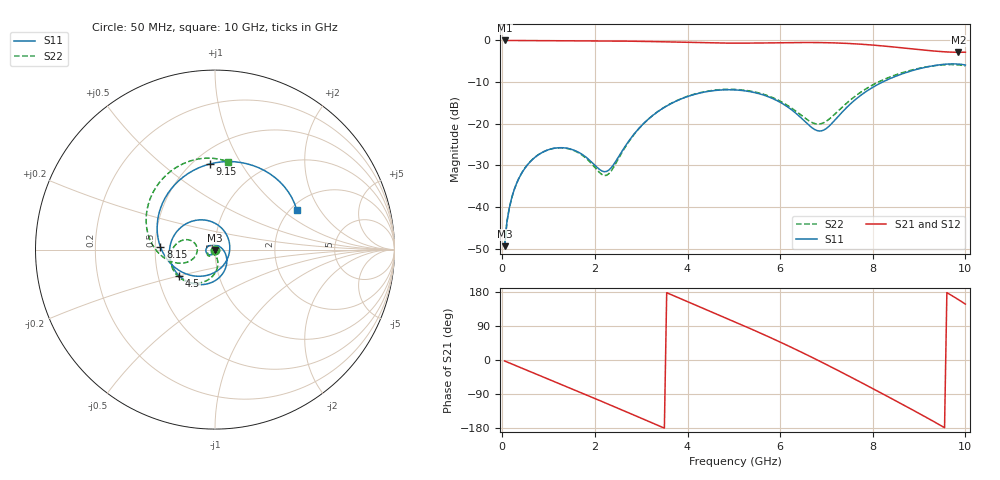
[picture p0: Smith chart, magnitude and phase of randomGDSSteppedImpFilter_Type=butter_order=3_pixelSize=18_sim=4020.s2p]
! freq	dB(S11)	phase(S11)	dB(S12)	phase(S12)
!  dB(S21)	phase(S21)	dB(S22)	phase(S22)
!S-par simulation data
#  GHz  S  DB  R 50
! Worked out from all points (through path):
!   200 points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, 50 MHz to 10 GHz, reference 50 ohm
!   highest |S21| = -0.01 dB at 50 MHz (marker M1); lowest = -2.9 dB at 9.85 GHz (marker M2)
!   group delay of S21, straight-line fit = 156 ps
!   lowest |S11| = -49.4 dB at 50 MHz (marker M3), VSWR 1.01, Z = 50 - j0.335 ohm
!   |S11| at or under -10 dB: start of sweep to 8.211 GHz
!   |S22| runs from -49.4 to -5.8 dB; largest |S21 - S12| = 0
!   S11 on the Smith chart (normalised r, x): 50 MHz: 1.00, -0.01; 4.5 GHz: 0.64, -0.20; 8.15 GHz: 0.53, +0.02; 9.15 GHz: 0.60, +0.74; 10 GHz: 2.15, +1.28
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0.05  -49.41 -82.1  -0.01 -2.6  -0.01 -2.6  -49.39 -81.4
0.1  -43.61 -92.5  -0.01 -5.1  -0.01 -5.1  -43.50 -91.4
0.2  -37.95 -100.4  -0.02 -10.2  -0.02 -10.2  -37.95 -97.7
0.55  -29.80 -122.2  -0.04 -28.0  -0.04 -28.0  -29.77 -113.8
1.15  -25.85 -160.0  -0.08 -58.4  -0.08 -58.4  -25.85 -138.8
1.75  -27.57 152.5  -0.11 -88.9  -0.11 -88.9  -27.76 -154.2
2.25  -31.47 64.7  -0.13 -114.5  -0.13 -114.5  -32.40 -114.7
2.85  -22.43 -32.7  -0.20 -145.7  -0.20 -145.7  -22.51 -77.6
3.4  -16.79 -74.6  -0.31 -174.6  -0.31 -174.6  -16.76 -94.1
3.9  -13.88 -106.6  -0.45 159.3  -0.45 159.3  -13.82 -114.4
4.5  -12.15 -143.4  -0.59 128.0  -0.59 128.0  -12.07 -139.9
5.05  -11.90 -177.7  -0.65 99.1  -0.65 99.1  -11.78 -162.8
5.85  -14.02 126.1  -0.58 55.7  -0.58 55.7  -13.79 167.7
6.7  -21.07 24.8  -0.50 6.3  -0.50 6.3  -19.78 171.4
6.95  -21.48 -30.4  -0.53 -9.0  -0.53 -9.0  -19.71 -169.4
7.35  -17.09 -100.2  -0.67 -34.0  -0.67 -34.0  -15.93 -155.6
7.75  -13.11 -145.1  -0.91 -59.4  -0.91 -59.4  -12.36 -162.9
8.15  -10.34 177.4  -1.26 -85.2  -1.26 -85.2  -9.84 -178.1
8.35  -9.28 159.8  -1.46 -98.2  -1.46 -98.2  -8.88 173.0
9.15  -6.41 93.5  -2.37 -151.1  -2.37 -151.1  -6.38 132.5
9.85  -5.68 38.1  -2.85 159.3  -2.85 159.3  -5.87 91.3
10  -5.91 25.9  -2.82 147.4  -2.82 147.4  -6.12 81.5
